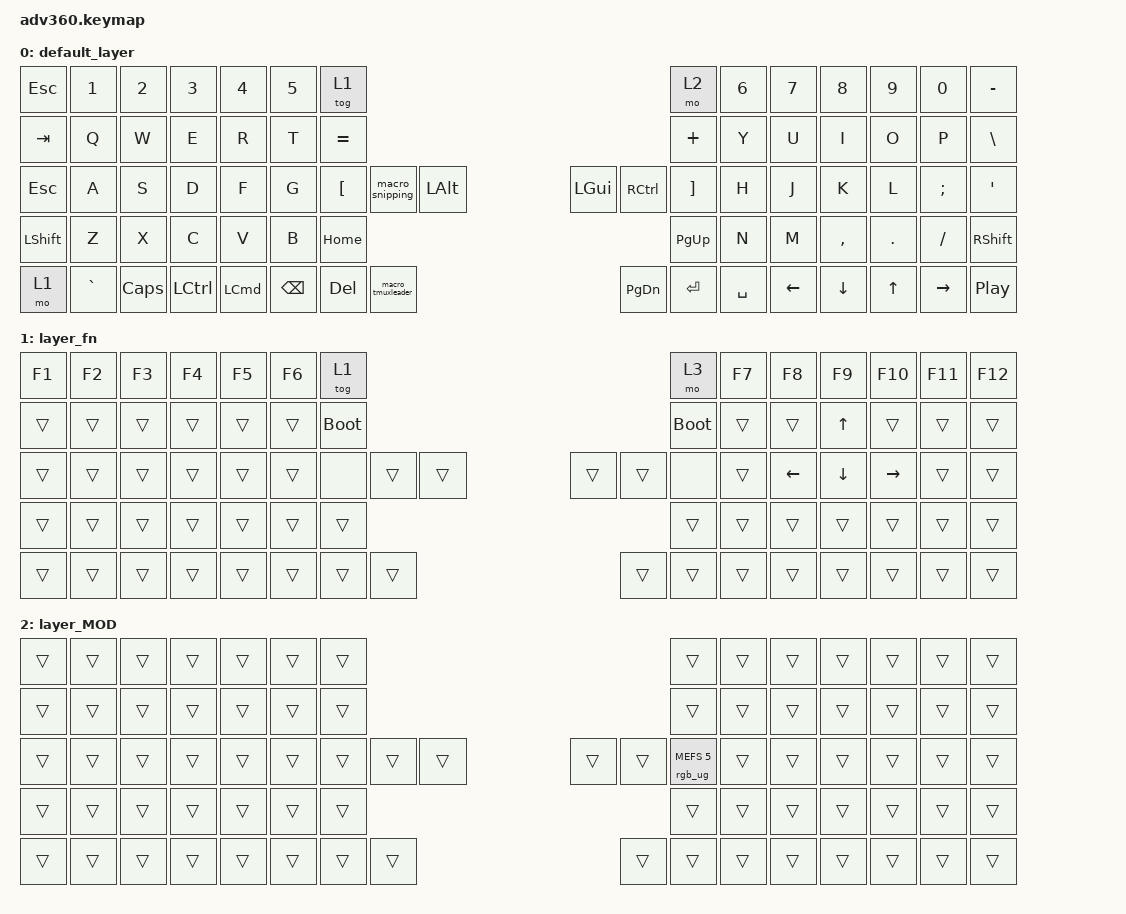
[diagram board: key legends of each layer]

/*
 * Copyright (c) 2020 The ZMK Contributors
 *
 * SPDX-License-Identifier: MIT
 */


/* THIS FILE WAS GENERATED!
 *
 * This file was generated automatically. You may or may not want to
 * edit it directly.
 */

#include <behaviors.dtsi>
#include <dt-bindings/zmk/keys.h>
#include <dt-bindings/zmk/rgb.h>

/ {
  behaviors {
    #include "macros.dtsi"
    #include "version.dtsi"

    hm: homerow_mods {
        compatible = "zmk,behavior-hold-tap";
        label = "HOMEROW_MODS";
        #binding-cells = <2>;
        tapping-term-ms = <200>;
        quick_tap_ms = <175>;
        flavor = "tap-preferred";
        bindings = <&kp>, <&kp>;
    };
  };

    keymap {
        compatible = "zmk,keymap";


        default_layer {
            bindings = <
 &kp ESCAPE     &kp N1    &kp N2     &kp N3            &kp N4  &kp N5                      &tog 1                                                                                        &mo 2  &kp N6    &kp N7     &kp N8   &kp N9     &kp N0         &kp MINUS
    &kp TAB      &kp Q     &kp W      &kp E             &kp R   &kp T                   &kp EQUAL                                                                                     &kp PLUS   &kp Y     &kp U      &kp I    &kp O      &kp P          &kp BSLH
    &kp ESC      &kp A     &kp S      &kp D             &kp F   &kp G            &kp LEFT_BRACKET  &macro_snipping           &kp LALT                   &kp LGUI  &kp RCTRL  &kp RIGHT_BRACKET   &kp H     &kp J      &kp K    &kp L   &kp SEMI           &kp SQT
  &kp LSHFT      &kp Z     &kp X      &kp C             &kp V   &kp B                                                        &kp HOME                  &kp PG_UP                                 &kp N     &kp M  &kp COMMA  &kp DOT   &kp FSLH        &kp RSHIFT
      &mo 1  &kp GRAVE  &kp CAPS  &kp LCTRL  &kp LEFT_COMMAND                            &kp BSPC          &kp DEL  &macro_tmuxleader                  &kp PG_DN  &kp ENTER          &kp SPACE          &kp LEFT   &kp DOWN   &kp UP  &kp RIGHT  &kp C_PLAY_PAUSE
            >;
        };

        layer_fn {
            bindings = <
 &kp F1  &kp F2  &kp F3  &kp F4  &kp F5  &kp F6                 &tog 1                                                        &mo 3  &kp F7          &kp F8          &kp F9          &kp F10  &kp F11  &kp F12
 &trans  &trans  &trans  &trans  &trans  &trans            &bootloader                                                  &bootloader  &trans          &trans    &kp UP_ARROW           &trans   &trans   &trans
 &trans  &trans  &trans  &trans  &trans  &trans                  &none  &trans  &trans                  &trans  &trans        &none  &trans  &kp LEFT_ARROW  &kp DOWN_ARROW  &kp RIGHT_ARROW   &trans   &trans
 &trans  &trans  &trans  &trans  &trans  &trans                                 &trans                  &trans                       &trans          &trans          &trans           &trans   &trans   &trans
 &trans  &trans  &trans  &trans  &trans                         &trans  &trans  &trans                  &trans  &trans       &trans                  &trans          &trans           &trans   &trans   &trans
            >;
        };

        layer_MOD {
            bindings = <
 &trans  &trans  &trans  &trans  &trans  &trans            &trans                                                                  &trans  &trans  &trans  &trans  &trans  &trans  &trans
 &trans  &trans  &trans  &trans  &trans  &trans            &trans                                                                  &trans  &trans  &trans  &trans  &trans  &trans  &trans
 &trans  &trans  &trans  &trans  &trans  &trans            &trans  &trans  &trans                  &trans  &trans  &rgb_ug RGB_MEFS_CMD 5  &trans  &trans  &trans  &trans  &trans  &trans
 &trans  &trans  &trans  &trans  &trans  &trans                            &trans                  &trans                                  &trans  &trans  &trans  &trans  &trans  &trans
 &trans  &trans  &trans  &trans  &trans                    &trans  &trans  &trans                  &trans  &trans                  &trans          &trans  &trans  &trans  &trans  &trans
            >;
        };

    };
};
